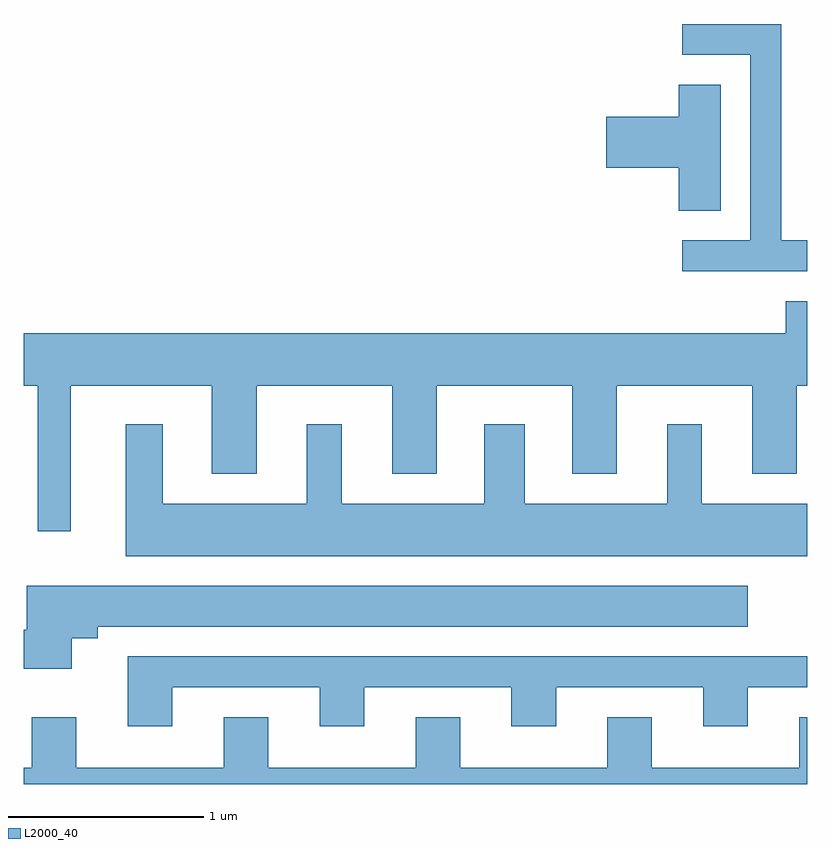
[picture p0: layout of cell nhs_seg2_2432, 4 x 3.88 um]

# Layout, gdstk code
import gdstk
lib = gdstk.Library(unit=1e-6, precision=1e-09)
def P(c, l, *ps):  # polygons
    for p in ps: c.add(gdstk.Polygon(p, *l))
L2000_40 = (2000, 40)

nhs_seg2_2432 = lib.new_cell('nhs_seg2_2432')
P(nhs_seg2_2432, L2000_40, [(259.611,1084.579),(259.479,1084.579),(259.479,1085.684),(258.973,1085.684),(258.973,1085.526),(259.321,1085.526),(259.321,1084.579),(258.973,1084.579),(258.973,1084.421),(259.611,1084.421)],
  [(259.169,1085.374),(258.956,1085.374),(258.956,1085.209),(258.586,1085.209),(258.586,1084.951),(258.956,1084.951),(258.956,1084.731),(259.169,1084.731)],
  [(255.849,1083.836),(256.571,1083.836),(256.571,1083.386),(256.799,1083.386),(256.799,1083.836),(257.491,1083.836),(257.491,1083.386),(257.719,1083.386),(257.719,1083.836),(258.411,1083.836),(258.411,1083.386),(258.639,1083.386),(258.639,1083.836),(259.331,1083.836),(259.331,1083.386),(259.559,1083.386),(259.559,1083.836),(259.611,1083.836),(259.611,1084.269),(259.501,1084.269),(259.501,1084.104),(255.611,1084.104),(255.611,1083.836),(255.681,1083.836),(255.681,1083.093),(255.849,1083.093)],
  [(259.611,1083.234),(259.074,1083.234),(259.074,1083.639),(258.896,1083.639),(258.896,1083.234),(258.169,1083.234),(258.169,1083.639),(257.961,1083.639),(257.961,1083.234),(257.234,1083.234),(257.234,1083.639),(257.056,1083.639),(257.056,1083.234),(256.319,1083.234),(256.319,1083.639),(256.131,1083.639),(256.131,1082.966),(259.611,1082.966)],
  [(255.854,1082.546),(255.989,1082.546),(255.989,1082.606),(259.309,1082.606),(259.309,1082.814),(255.626,1082.814),(255.626,1082.589),(255.611,1082.589),(255.611,1082.391),(255.854,1082.391)],
  [(256.369,1082.296),(257.121,1082.296),(257.121,1082.096),(257.349,1082.096),(257.349,1082.296),(258.101,1082.296),(258.101,1082.096),(258.329,1082.096),(258.329,1082.296),(259.081,1082.296),(259.081,1082.096),(259.309,1082.096),(259.309,1082.296),(259.611,1082.296),(259.611,1082.454),(256.141,1082.454),(256.141,1082.096),(256.369,1082.096)],
  [(259.611,1082.144),(259.571,1082.144),(259.571,1081.884),(258.819,1081.884),(258.819,1082.144),(258.591,1082.144),(258.591,1081.884),(257.839,1081.884),(257.839,1082.144),(257.611,1082.144),(257.611,1081.884),(256.859,1081.884),(256.859,1082.144),(256.631,1082.144),(256.631,1081.884),(255.879,1081.884),(255.879,1082.144),(255.651,1082.144),(255.651,1081.884),(255.611,1081.884),(255.611,1081.802),(259.611,1081.802)])

lib.write_gds('nhs_seg2_2432.gds')
